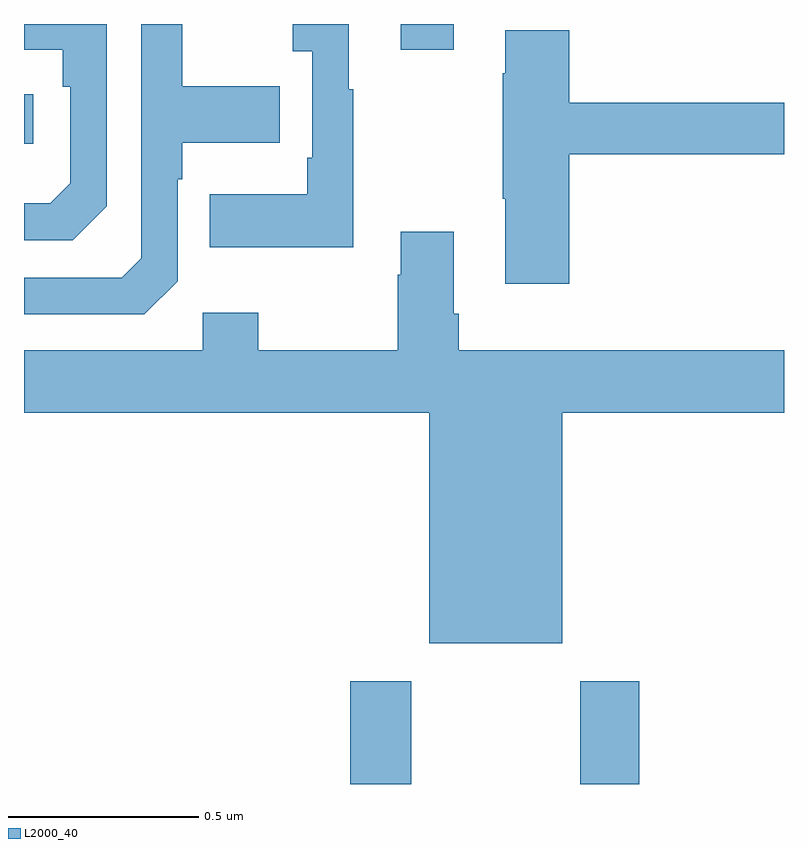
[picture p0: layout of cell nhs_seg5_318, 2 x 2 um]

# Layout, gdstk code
import gdstk
lib = gdstk.Library(unit=1e-6, precision=1e-09)
def R(c, l, rs):  # rectangles x0, y0, x1, y1
    for r in rs: c.add(gdstk.rectangle(r[:2], r[2:], *l))
def P(c, l, *ps):  # polygons
    for p in ps: c.add(gdstk.Polygon(p, *l))
L2000_40 = (2000, 40)

nhs_seg5_318 = lib.new_cell('nhs_seg5_318')
R(nhs_seg5_318, L2000_40, [(115.859,839.799,116.019,840.07), (116.464,839.799,116.619,840.07), (115,841.484,115.024,841.614), (115.991,841.731,116.131,841.799)])
P(nhs_seg5_318, L2000_40, [(115.867,841.627),(115.855,841.627),(115.855,841.799),(115.707,841.799),(115.707,841.727),(115.758,841.727),(115.758,841.447),(115.746,841.447),(115.746,841.351),(115.489,841.351),(115.489,841.211),(115.867,841.211)],
  [(115.404,841.122),(115.404,841.391),(115.417,841.391),(115.417,841.487),(115.673,841.487),(115.673,841.635),(115.417,841.635),(115.417,841.799),(115.308,841.799),(115.308,841.182),(115.257,841.131),(115,841.131),(115,841.035),(115.317,841.035)],
  [(115.218,841.32),(115.218,841.799),(115,841.799),(115,841.731),(115.102,841.731),(115.102,841.634),(115.122,841.634),(115.122,841.38),(115.069,841.327),(115,841.327),(115,841.23),(115.128,841.23)],
  [(116.435,841.456),(117,841.456),(117,841.592),(116.435,841.592),(116.435,841.783),(116.267,841.783),(116.267,841.67),(116.26,841.67),(116.26,841.339),(116.267,841.339),(116.267,841.116),(116.435,841.116)],
  [(116.416,840.776),(117,840.776),(117,840.94),(116.144,840.94),(116.144,841.036),(116.131,841.036),(116.131,841.252),(115.991,841.252),(115.991,841.139),(115.984,841.139),(115.984,840.94),(115.617,840.94),(115.617,841.039),(115.47,841.039),(115.47,840.94),(115,840.94),(115,840.776),(116.066,840.776),(116.066,840.17),(116.416,840.17)])

lib.write_gds('nhs_seg5_318.gds')
